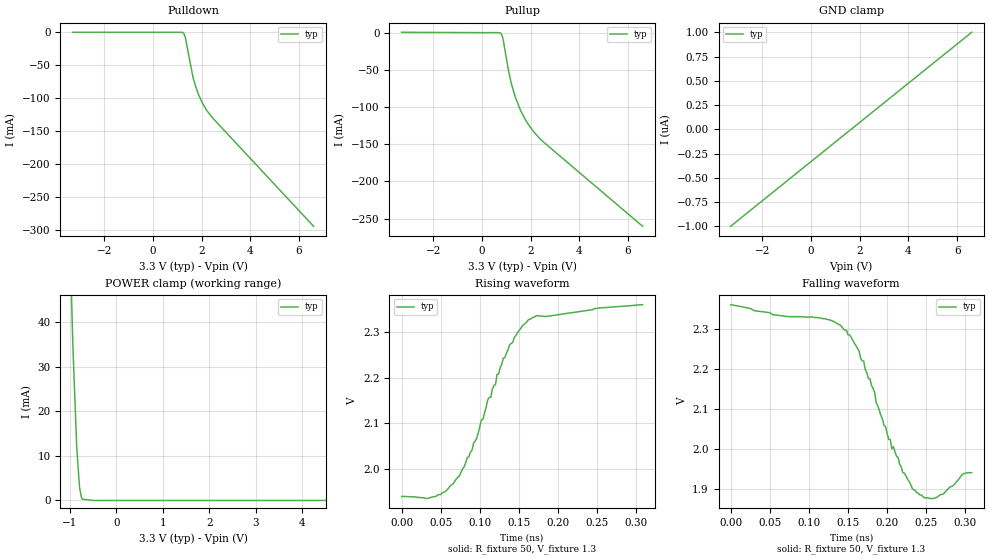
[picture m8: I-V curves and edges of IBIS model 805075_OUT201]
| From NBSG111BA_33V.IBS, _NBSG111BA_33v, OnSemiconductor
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| COPYRIGHT(C) MENTOR GRAPHICS CORPORATION 2001 ALL
| RIGHTS RESERVED. THIS WORK CONTAINS PROPRIETARY
| INFORMATION WHICH IS THE PROPERTY OF MENTOR GRAPHICS
| CORPORATION OR ITS LICENSORS. USE OF THESE MATERIALS
| IS SUBJECT TO THE TERMS BELOW.
| USE: YOU MAY USE IBIS MODELS SOLELY FOR DEVELOPING
| PRINTED CIRCUIT BOARD DESIGNS. NO OTHER USE OR
| DISTRIBUTION OF THESE MATERIALS IS PERMITTED.
| Model Application Version 1.89 2/18/99.
[Model] 805075_OUT201
Model_type Output_ECL
Vref=1.300V
Rref=50.00ohms
Cref=0.000F
Vmeas=2.000V
C_comp 500.0fF NA NA
| variable typ   min   max
[Voltage Range] 3.300V NA NA
[POWER Clamp Reference] 3.300V NA NA
[Pullup Reference] 3.300V NA NA
[Pulldown Reference] 3.300V NA NA
[GND Clamp Reference] 0.000V NA NA
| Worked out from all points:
|   POWER clamp passes 1 mA (typ) near -0.75 V on its own axis
|   rising waveform, R_fixture 50, V_fixture 1.3: 20-80 % time 57.2ps typ, NA min, NA max; typ from 1.94 V to 2.36 V
|   falling waveform, R_fixture 50, V_fixture 1.3: 20-80 % time 47.1ps typ, NA min, NA max; typ from 2.36 V to 1.94 V
[GND Clamp]
-3.3V     -1uA       NA         NA
6.6V      1uA        NA         NA
[Pulldown]
-3.3V     0A         NA         NA
1.157V    0A         NA         NA
1.258V    -1.3mA     NA         NA
1.278V    -2.3mA     NA         NA
1.339V    -9mA       NA         NA
1.643V    -67.6mA    NA         NA
1.724V    -78.7mA    NA         NA
1.866V    -93.9mA    NA         NA
2.028V    -107.2mA   NA         NA
2.21V     -118.7mA   NA         NA
2.453V    -130.2mA   NA         NA
6.6V      -294.9mA   NA         NA
[Pullup]
-3.3V     493.9uA    NA         NA
751mV     -400uA     NA         NA
832mV     -4.3mA     NA         NA
873mV     -9.4mA     NA         NA
1.076V    -48.1mA    NA         NA
1.197V    -67.1mA    NA         NA
1.359V    -85.6mA    NA         NA
1.582V    -104.4mA   NA         NA
1.825V    -119.4mA   NA         NA
2.089V    -131.9mA   NA         NA
2.514V    -146.7mA   NA         NA
6.6V      -260.4mA   NA         NA
[POWER Clamp]
-3.3V     923.8mA    NA         NA
-931mV    34.16mA    NA         NA
-850mV    11.87mA    NA         NA
-789mV    2.882mA    NA         NA
-749mV    687.7uA    NA         NA
-728mV    290.9uA    NA         NA
-485.3mV  0A         NA         NA
6.6V      0A         NA         NA
[Ramp]
| variable typ min max
dV/dt_r 221.9m/53.60p NA NA
dV/dt_f 221.9m/45.94p NA NA
R_load = 50.00Ohms
[Rising Waveform]
R_fixture = 50
V_fixture = 1.3
| Time   V(typ) V(min) V(max)
0s        1.94V      NA         NA
44ps      1.94V      NA         NA
74ps      1.985V     NA         NA
96ps      2.067V     NA         NA
110ps     2.151V     NA         NA
114ps     2.157V     NA         NA
130ps     2.243V     NA         NA
148ps     2.299V     NA         NA
162ps     2.327V     NA         NA
308ps     2.36V      NA         NA
[Falling Waveform]
R_fixture = 50
V_fixture = 1.3
| Time   V(typ) V(min) V(max)
0s        2.36V      NA         NA
120ps     2.325V     NA         NA
148ps     2.296V     NA         NA
170ps     2.219V     NA         NA
206ps     2V         NA         NA
232ps     1.901V     NA         NA
242ps     1.884V     NA         NA
264ps     1.879V     NA         NA
296ps     1.936V     NA         NA
308ps     1.94V      NA         NA
